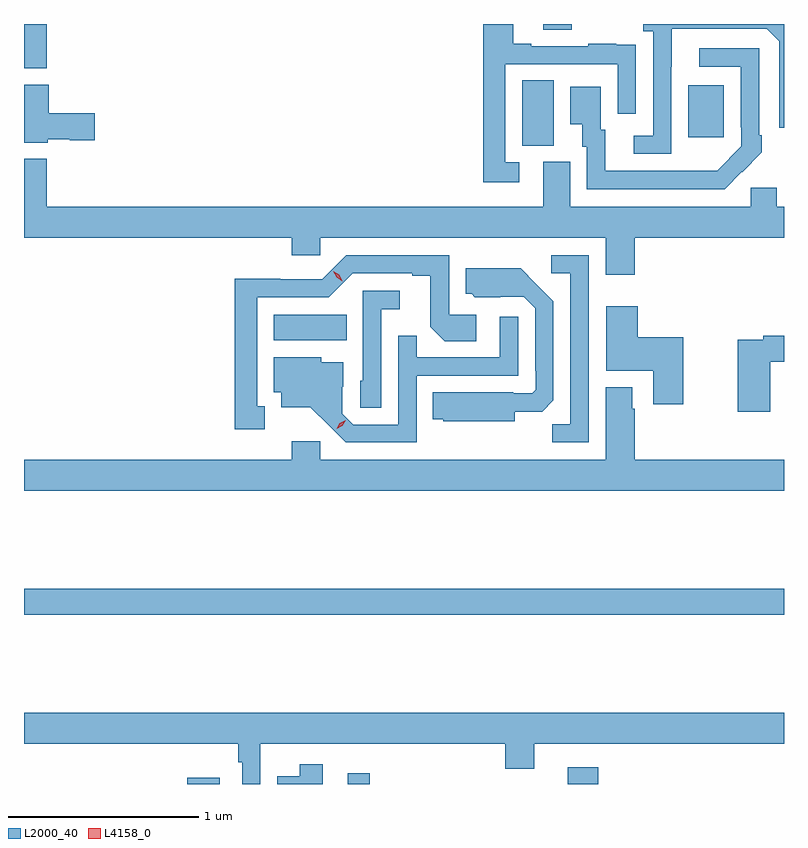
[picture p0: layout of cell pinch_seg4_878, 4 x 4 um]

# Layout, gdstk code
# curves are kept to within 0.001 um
import gdstk
lib = gdstk.Library(unit=1e-6, precision=1e-09)
def R(c, l, rs):  # rectangles x0, y0, x1, y1
    for r in rs: c.add(gdstk.rectangle(r[:2], r[2:], *l))
def P(c, l, *ps):  # polygons
    for p in ps: c.add(gdstk.Polygon(p, *l))
L2000_40 = (2000, 40)
L4158_0 = (4158, 0)

pinch_seg4_878 = lib.new_cell('pinch_seg4_878')
R(pinch_seg4_878, L2000_40, [(700.352,821.917,700.522,821.95), (701.196,821.917,701.312,821.974), (702.356,821.917,702.515,822.004), (699.493,822.808,703.493,822.944), (700.808,824.252,701.192,824.386), (702.116,825.277,702.28,825.62), (702.989,825.321,703.177,825.595), (699.493,825.683,699.614,825.917), (702.227,825.886,702.375,825.917)])
P(pinch_seg4_878, L2000_40, [(702.1,825.189),(702.027,825.189),(702.027,825.705),(702.618,825.705),(702.618,825.444),(702.714,825.444),(702.714,825.698),(702.713,825.698),(702.713,825.807),(702.611,825.807),(702.611,825.814),(702.463,825.814),(702.463,825.801),(702.163,825.801),(702.163,825.814),(702.067,825.814),(702.067,825.917),(701.911,825.917),(701.911,825.084),(702.1,825.084)],
  [(702.9,825.691),(702.901,825.891),(703.401,825.891),(703.467,825.825),(703.467,825.372),(703.493,825.372),(703.493,825.917),(702.753,825.917),(702.753,825.878),(702.804,825.878),(702.804,825.33),(702.702,825.33),(702.702,825.234),(702.9,825.234)],
  [(703.271,825.139),(703.272,825.138),(703.377,825.243),(703.377,825.331),(703.362,825.331),(703.362,825.789),(703.047,825.789),(703.047,825.693),(703.266,825.693),(703.266,825.373),(703.269,825.373),(703.269,825.273),(703.141,825.145),(702.553,825.144),(702.553,825.36),(702.529,825.36),(702.529,825.586),(702.368,825.586),(702.368,825.389),(702.431,825.389),(702.431,825.27),(702.456,825.27),(702.456,825.048),(703.18,825.048)],
  [(699.618,825.311),(699.735,825.311),(699.735,825.304),(699.865,825.304),(699.865,825.446),(699.622,825.446),(699.622,825.598),(699.493,825.598),(699.493,825.293),(699.618,825.293)],
  [(702.707,824.792),(703.493,824.792),(703.493,824.956),(703.456,824.956),(703.456,825.054),(703.317,825.054),(703.317,824.956),(702.367,824.956),(702.367,825.192),(702.227,825.192),(702.227,824.956),(699.614,824.956),(699.614,825.208),(699.493,825.208),(699.493,824.792),(700.901,824.792),(700.901,824.699),(701.052,824.699),(701.052,824.792),(702.554,824.792),(702.554,824.598),(702.707,824.598)],
  [(700.759,823.905),(700.72,823.905),(700.72,824.478),(701.097,824.478),(701.223,824.604),(701.537,824.604),(701.537,824.592),(701.631,824.592),(701.631,824.324),(701.707,824.248),(701.872,824.248),(701.872,824.388),(701.73,824.388),(701.73,824.7),(701.19,824.7),(701.064,824.574),(700.842,824.574),(700.842,824.576),(700.602,824.576),(700.602,823.785),(700.759,823.785)],
  [(702.465,824.7),(702.267,824.7),(702.267,824.604),(702.369,824.604),(702.369,823.811),(702.274,823.811),(702.274,823.716),(702.465,823.716)],
  [(702.076,823.877),(702.22,823.877),(702.279,823.936),(702.279,824.458),(702.107,824.632),(701.819,824.632),(701.819,824.496),(701.85,824.496),(701.866,824.48),(702.123,824.481),(702.183,824.421),(702.183,824.092),(702.186,824.092),(702.186,823.992),(702.168,823.974),(702.068,823.974),(702.068,823.978),(701.644,823.978),(701.644,823.838),(701.7,823.838),(701.7,823.826),(702.076,823.826)],
  [(701.373,824.417),(701.47,824.417),(701.47,824.514),(701.277,824.514),(701.277,824.04),(701.262,824.04),(701.262,823.897),(701.373,823.897)],
  [(702.964,824.269),(702.724,824.269),(702.724,824.431),(702.557,824.431),(702.557,824.093),(702.806,824.093),(702.806,823.917),(702.964,823.917)],
  [(701.559,824.067),(702.093,824.067),(702.093,824.377),(701.997,824.377),(701.997,824.163),(701.561,824.163),(701.561,824.276),(701.463,824.276),(701.463,823.809),(701.226,823.809),(701.169,823.866),(701.169,824.008),(701.173,824.008),(701.173,824.137),(701.058,824.137),(701.058,824.164),(700.808,824.164),(700.808,823.98),(700.847,823.98),(700.847,823.901),(700.999,823.901),(701.186,823.716),(701.559,823.716)],
  [(703.421,824.14),(703.493,824.14),(703.493,824.276),(703.384,824.276),(703.384,824.256),(703.25,824.256),(703.25,823.875),(703.421,823.875)],
  [(703.493,823.624),(702.707,823.624),(702.707,823.892),(702.694,823.892),(702.694,824.005),(702.554,824.005),(702.554,823.624),(701.052,823.624),(701.052,823.72),(700.901,823.72),(700.901,823.624),(699.493,823.624),(699.493,823.46),(703.493,823.46)],
  [(700.737,822.128),(702.026,822.128),(702.026,821.998),(702.178,821.998),(702.178,822.128),(703.493,822.128),(703.493,822.292),(699.493,822.292),(699.493,822.128),(700.621,822.128),(700.621,822.032),(700.641,822.032),(700.641,821.917),(700.737,821.917)],
  [(701.065,822.022),(700.943,822.022),(700.943,821.959),(700.826,821.959),(700.826,821.917),(701.065,821.917)])
P(pinch_seg4_878, L4158_0, [(701.138,823.788),(701.138,823.788),(701.155,823.817),(701.186,823.832),(701.186,823.832),(701.186,823.832),(701.168,823.803),(701.138,823.788)],
  [(701.169,824.564),(701.138,824.583),(701.12,824.615),(701.12,824.616),(701.121,824.616),(701.152,824.596),(701.169,824.564),(701.169,824.564)])

lib.write_gds('pinch_seg4_878.gds')
